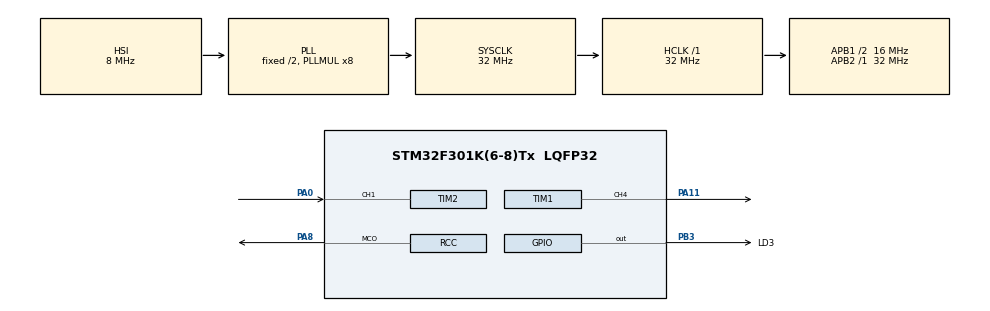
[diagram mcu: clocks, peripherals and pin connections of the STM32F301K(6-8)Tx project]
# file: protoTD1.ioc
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Mcu.Family=STM32F3
Mcu.Name=STM32F301K(6-8)Tx
Mcu.Package=LQFP32
NVIC.PriorityGroup=NVIC_PRIORITYGROUP_4
NVIC.TIM2_IRQn=true\:0\:0\:false\:false\:true\:true\:true
PA0.Signal=S_TIM2_CH1_ETR
PA11.Signal=S_TIM1_CH4
PA8.Mode=Clock-out
PA8.Signal=RCC_MCO
PB3.GPIO_Label=LD3
PB3.Signal=GPIO_Output
PF0-OSC_IN.Mode=HSE-External-Oscillator
PF0-OSC_IN.Signal=RCC_OSC_IN
PF1-OSC_OUT.Mode=HSE-External-Oscillator
PF1-OSC_OUT.Signal=RCC_OSC_OUT
ProjectManager.HeapSize=0x200
ProjectManager.StackSize=0x400
ProjectManager.TargetToolchain=STM32CubeIDE
RCC.AHBFreq_Value=32000000
RCC.APB1CLKDivider=RCC_HCLK_DIV2
RCC.APB1Freq_Value=16000000
RCC.APB1TimFreq_Value=32000000
RCC.APB2Freq_Value=32000000
RCC.APB2TimFreq_Value=32000000
RCC.CortexFreq_Value=32000000
RCC.HCLKFreq_Value=32000000
RCC.HSE_VALUE=8000000
RCC.HSI_VALUE=8000000
RCC.PLLMUL=RCC_PLL_MUL8
RCC.SYSCLKFreq_VALUE=32000000
RCC.SYSCLKSourceVirtual=RCC_SYSCLKSOURCE_PLLCLK
SH.S_TIM1_CH4.0=TIM1_CH4,PWM Generation4 CH4
SH.S_TIM2_CH1_ETR.0=TIM2_CH1,Input_Capture1_from_TI1
TIM1.Channel-PWM\ Generation4\ CH4=TIM_CHANNEL_4
TIM1.Period=63999
TIM1.Prescaler=9
TIM2.AutoReloadPreload=TIM_AUTORELOAD_PRELOAD_ENABLE
TIM2.Channel-Input_Capture1_from_TI1=TIM_CHANNEL_1
TIM2.Period=65535
TIM2.Prescaler=0
VP_TIM2_VS_ClockSourceINT.Mode=Internal
board=custom

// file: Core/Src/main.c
/* USER CODE BEGIN Header */
/**
  ******************************************************************************
  * @file           : main.c
  * @brief          : Main program body
  ******************************************************************************
  * @attention
  *
  * Copyright (c) 2022 STMicroelectronics.
  * All rights reserved.
  *
  * This software is licensed under terms that can be found in the LICENSE file
  * in the root directory of this software component.
  * If no LICENSE file comes with this software, it is provided AS-IS.
  *
  ******************************************************************************
  */
/* USER CODE END Header */
#include "main.h"

/* USER CODE BEGIN PD */
#define TIMCLOCK   32000000
#define PRESCALAR  1
/* USER CODE END PD */

TIM_HandleTypeDef htim1;
TIM_HandleTypeDef htim2;

/* USER CODE BEGIN PV */

uint32_t IC_Val1 = 0;
uint32_t IC_Val2 = 0;
uint32_t Difference = 0;
int Is_First_Captured = 0;

/* Measure Frequency */
float frequency = 0;

/* USER CODE END PV */

void SystemClock_Config(void);
static void MX_GPIO_Init(void);
static void MX_TIM2_Init(void);
static void MX_TIM1_Init(void);

/* USER CODE BEGIN 0 */
void touner_servo(void);
void HAL_TIM_IC_CaptureCallback(TIM_HandleTypeDef* htim);

/* USER CODE END 0 */

int main(void)
{

  /* MCU Configuration--------------------------------------------------------*/

  /* Reset of all peripherals, Initializes the Flash interface and the Systick. */
  HAL_Init();

  /* Configure the system clock */
  SystemClock_Config();

  /* Initialize all configured peripherals */
  MX_GPIO_Init();
  MX_TIM2_Init();
  MX_TIM1_Init();
  /* USER CODE BEGIN 2 */

  //start PWM servo
  HAL_TIM_Base_Start(&htim1);
  HAL_TIM_PWM_Start(&htim1, TIM_CHANNEL_4);

  //start reading frequency
  HAL_TIM_Base_Start(&htim2);
  HAL_TIM_IC_Start_IT(&htim2, TIM_CHANNEL_1);

  /* USER CODE END 2 */

  /* Infinite loop */
  while(1){

    /* USER CODE BEGIN 3 */
	touner_servo();

  }
  /* USER CODE END 3 */
}

void SystemClock_Config(void)
{
  RCC_OscInitTypeDef RCC_OscInitStruct = {0};
  RCC_ClkInitTypeDef RCC_ClkInitStruct = {0};
  RCC_PeriphCLKInitTypeDef PeriphClkInit = {0};

  /** Initializes the RCC Oscillators according to the specified parameters
  * in the RCC_OscInitTypeDef structure.
  */
  RCC_OscInitStruct.OscillatorType = RCC_OSCILLATORTYPE_HSI;
  RCC_OscInitStruct.HSIState = RCC_HSI_ON;
  RCC_OscInitStruct.HSICalibrationValue = RCC_HSICALIBRATION_DEFAULT;
  RCC_OscInitStruct.PLL.PLLState = RCC_PLL_ON;
  RCC_OscInitStruct.PLL.PLLSource = RCC_PLLSOURCE_HSI;
  RCC_OscInitStruct.PLL.PLLMUL = RCC_PLL_MUL8;
  if (HAL_RCC_OscConfig(&RCC_OscInitStruct) != HAL_OK)
  {
    Error_Handler();
  }
  /** Initializes the CPU, AHB and APB buses clocks
  */
  RCC_ClkInitStruct.ClockType = RCC_CLOCKTYPE_HCLK|RCC_CLOCKTYPE_SYSCLK
                              |RCC_CLOCKTYPE_PCLK1|RCC_CLOCKTYPE_PCLK2;
  RCC_ClkInitStruct.SYSCLKSource = RCC_SYSCLKSOURCE_PLLCLK;
  RCC_ClkInitStruct.AHBCLKDivider = RCC_SYSCLK_DIV1;
  RCC_ClkInitStruct.APB1CLKDivider = RCC_HCLK_DIV2;
  RCC_ClkInitStruct.APB2CLKDivider = RCC_HCLK_DIV1;

  if (HAL_RCC_ClockConfig(&RCC_ClkInitStruct, FLASH_LATENCY_1) != HAL_OK)
  {
    Error_Handler();
  }
  PeriphClkInit.PeriphClockSelection = RCC_PERIPHCLK_TIM1;
  PeriphClkInit.Tim1ClockSelection = RCC_TIM1CLK_HCLK;
  if (HAL_RCCEx_PeriphCLKConfig(&PeriphClkInit) != HAL_OK)
  {
    Error_Handler();
  }
  HAL_RCC_MCOConfig(RCC_MCO, RCC_MCO1SOURCE_SYSCLK, RCC_MCODIV_1);
}

static void MX_TIM1_Init(void)
{

  TIM_MasterConfigTypeDef sMasterConfig = {0};
  TIM_OC_InitTypeDef sConfigOC = {0};
  TIM_BreakDeadTimeConfigTypeDef sBreakDeadTimeConfig = {0};

  htim1.Instance = TIM1;
  htim1.Init.Prescaler = 9;
  htim1.Init.CounterMode = TIM_COUNTERMODE_UP;
  htim1.Init.Period = 63999;
  htim1.Init.ClockDivision = TIM_CLOCKDIVISION_DIV1;
  htim1.Init.RepetitionCounter = 0;
  htim1.Init.AutoReloadPreload = TIM_AUTORELOAD_PRELOAD_DISABLE;
  if (HAL_TIM_PWM_Init(&htim1) != HAL_OK)
  {
    Error_Handler();
  }
  sMasterConfig.MasterOutputTrigger = TIM_TRGO_RESET;
  sMasterConfig.MasterOutputTrigger2 = TIM_TRGO2_RESET;
  sMasterConfig.MasterSlaveMode = TIM_MASTERSLAVEMODE_DISABLE;
  if (HAL_TIMEx_MasterConfigSynchronization(&htim1, &sMasterConfig) != HAL_OK)
  {
    Error_Handler();
  }
  sConfigOC.OCMode = TIM_OCMODE_PWM1;
  sConfigOC.Pulse = 0;
  sConfigOC.OCPolarity = TIM_OCPOLARITY_HIGH;
  sConfigOC.OCFastMode = TIM_OCFAST_DISABLE;
  sConfigOC.OCIdleState = TIM_OCIDLESTATE_RESET;
  sConfigOC.OCNIdleState = TIM_OCNIDLESTATE_RESET;
  if (HAL_TIM_PWM_ConfigChannel(&htim1, &sConfigOC, TIM_CHANNEL_4) != HAL_OK)
  {
    Error_Handler();
  }
  sBreakDeadTimeConfig.OffStateRunMode = TIM_OSSR_DISABLE;
  sBreakDeadTimeConfig.OffStateIDLEMode = TIM_OSSI_DISABLE;
  sBreakDeadTimeConfig.LockLevel = TIM_LOCKLEVEL_OFF;
  sBreakDeadTimeConfig.DeadTime = 0;
  sBreakDeadTimeConfig.BreakState = TIM_BREAK_DISABLE;
  sBreakDeadTimeConfig.BreakPolarity = TIM_BREAKPOLARITY_HIGH;
  sBreakDeadTimeConfig.BreakFilter = 0;
  sBreakDeadTimeConfig.Break2State = TIM_BREAK2_DISABLE;
  sBreakDeadTimeConfig.Break2Polarity = TIM_BREAK2POLARITY_HIGH;
  sBreakDeadTimeConfig.Break2Filter = 0;
  sBreakDeadTimeConfig.AutomaticOutput = TIM_AUTOMATICOUTPUT_DISABLE;
  if (HAL_TIMEx_ConfigBreakDeadTime(&htim1, &sBreakDeadTimeConfig) != HAL_OK)
  {
    Error_Handler();
  }
  HAL_TIM_MspPostInit(&htim1);

}

static void MX_TIM2_Init(void)
{

  TIM_ClockConfigTypeDef sClockSourceConfig = {0};
  TIM_MasterConfigTypeDef sMasterConfig = {0};
  TIM_IC_InitTypeDef sConfigIC = {0};

  htim2.Instance = TIM2;
  htim2.Init.Prescaler = 0;
  htim2.Init.CounterMode = TIM_COUNTERMODE_UP;
  htim2.Init.Period = 65535;
  htim2.Init.ClockDivision = TIM_CLOCKDIVISION_DIV1;
  htim2.Init.AutoReloadPreload = TIM_AUTORELOAD_PRELOAD_ENABLE;
  if (HAL_TIM_Base_Init(&htim2) != HAL_OK)
  {
    Error_Handler();
  }
  sClockSourceConfig.ClockSource = TIM_CLOCKSOURCE_INTERNAL;
  if (HAL_TIM_ConfigClockSource(&htim2, &sClockSourceConfig) != HAL_OK)
  {
    Error_Handler();
  }
  if (HAL_TIM_IC_Init(&htim2) != HAL_OK)
  {
    Error_Handler();
  }
  sMasterConfig.MasterOutputTrigger = TIM_TRGO_RESET;
  sMasterConfig.MasterSlaveMode = TIM_MASTERSLAVEMODE_DISABLE;
  if (HAL_TIMEx_MasterConfigSynchronization(&htim2, &sMasterConfig) != HAL_OK)
  {
    Error_Handler();
  }
  sConfigIC.ICPolarity = TIM_INPUTCHANNELPOLARITY_RISING;
  sConfigIC.ICSelection = TIM_ICSELECTION_DIRECTTI;
  sConfigIC.ICPrescaler = TIM_ICPSC_DIV1;
  sConfigIC.ICFilter = 0;
  if (HAL_TIM_IC_ConfigChannel(&htim2, &sConfigIC, TIM_CHANNEL_1) != HAL_OK)
  {
    Error_Handler();
  }

}

static void MX_GPIO_Init(void)
{
  GPIO_InitTypeDef GPIO_InitStruct = {0};

  /* GPIO Ports Clock Enable */
  __HAL_RCC_GPIOF_CLK_ENABLE();
  __HAL_RCC_GPIOA_CLK_ENABLE();
  __HAL_RCC_GPIOB_CLK_ENABLE();

  /*Configure GPIO pin Output Level */
  HAL_GPIO_WritePin(LD3_GPIO_Port, LD3_Pin, GPIO_PIN_RESET);

  /*Configure GPIO pin : PA8 */
  GPIO_InitStruct.Pin = GPIO_PIN_8;
  GPIO_InitStruct.Mode = GPIO_MODE_AF_PP;
  GPIO_InitStruct.Pull = GPIO_NOPULL;
  GPIO_InitStruct.Speed = GPIO_SPEED_FREQ_LOW;
  GPIO_InitStruct.Alternate = GPIO_AF0_MCO;
  HAL_GPIO_Init(GPIOA, &GPIO_InitStruct);

  /*Configure GPIO pin : LD3_Pin */
  GPIO_InitStruct.Pin = LD3_Pin;
  GPIO_InitStruct.Mode = GPIO_MODE_OUTPUT_PP;
  GPIO_InitStruct.Pull = GPIO_NOPULL;
  GPIO_InitStruct.Speed = GPIO_SPEED_FREQ_LOW;
  HAL_GPIO_Init(LD3_GPIO_Port, &GPIO_InitStruct);

}

/* USER CODE BEGIN 4 */
void touner_servo(void){
	if (frequency > 93000){
		HAL_GPIO_WritePin(GPIOB, LD3_Pin, 0);
		__HAL_TIM_SET_COMPARE(&htim1, TIM_CHANNEL_4, 3200);
		HAL_Delay(100);

	} else if (frequency > 90000 && frequency < 92800){
		HAL_GPIO_WritePin(GPIOB, LD3_Pin, 1);
		__HAL_TIM_SET_COMPARE(&htim1, TIM_CHANNEL_4, 9600);
		HAL_Delay(3200);
	}
}

void HAL_TIM_IC_CaptureCallback(TIM_HandleTypeDef* htim)
{
	if (htim->Channel == HAL_TIM_ACTIVE_CHANNEL_1)
	{
		if (Is_First_Captured==0) // if the first rising edge is not captured
		{
			IC_Val1 = HAL_TIM_ReadCapturedValue(htim, TIM_CHANNEL_1); // read the first value
			Is_First_Captured = 1;  // set the first captured as true
		}

		else   // If the first rising edge is captured, now we will capture the second edge
		{
			IC_Val2 = HAL_TIM_ReadCapturedValue(htim, TIM_CHANNEL_1);  // read second value

			if (IC_Val2 > IC_Val1)
			{
				Difference = IC_Val2-IC_Val1;
				float refClock = TIMCLOCK/(PRESCALAR);

				//frequency = HAL_RCC_GetPCLK1Freq()/Difference;
				frequency = refClock/Difference;

				__HAL_TIM_SET_COUNTER(htim, 0);  // reset the counter
			}
			Is_First_Captured = 0; // set it back to false
		}

	}
}

/* USER CODE END 4 */

void Error_Handler(void)
{
  __disable_irq();
  while (1)
  {
  }
}
